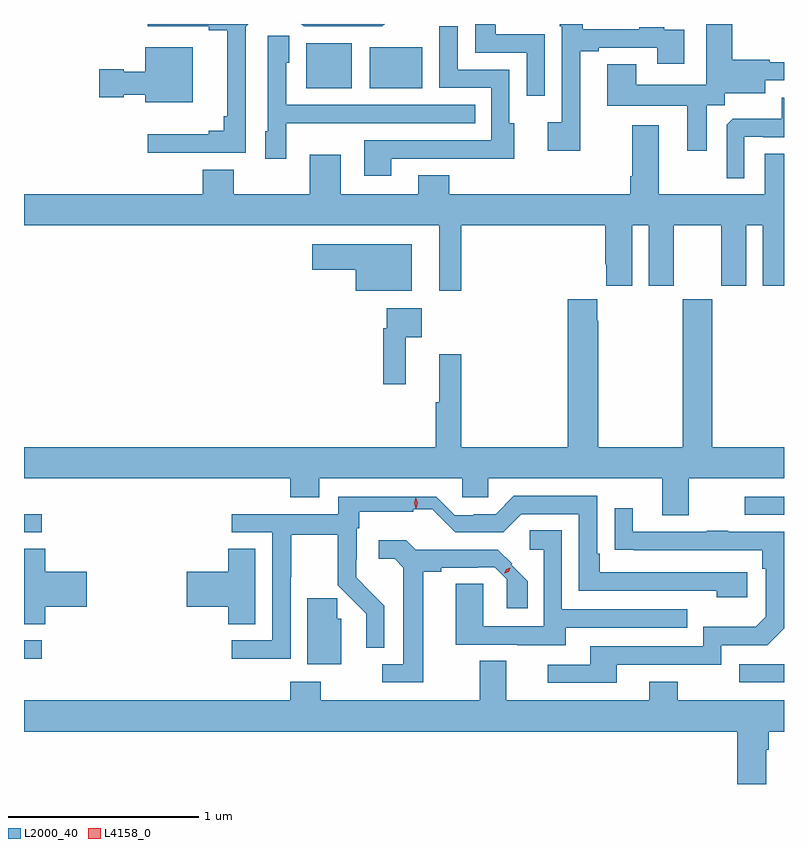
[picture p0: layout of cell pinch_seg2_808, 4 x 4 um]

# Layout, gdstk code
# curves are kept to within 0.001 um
import gdstk
lib = gdstk.Library(unit=1e-6, precision=1e-09)
def R(c, l, rs):  # rectangles x0, y0, x1, y1
    for r in rs: c.add(gdstk.rectangle(r[:2], r[2:], *l))
def P(c, l, *ps):  # polygons
    for p in ps: c.add(gdstk.Polygon(p, *l))
L2000_40 = (2000, 40)
L4158_0 = (4158, 0)

pinch_seg2_808 = lib.new_cell('pinch_seg2_808')
R(pinch_seg2_808, L2000_40, [(749.901,593.283,750.137,593.379), (746.137,593.407,746.23,593.505), (746.137,594.072,746.23,594.168), (749.931,594.165,750.137,594.261), (747.623,596.411,747.862,596.647), (747.956,596.411,748.234,596.626)])
P(pinch_seg2_808, L2000_40, [(748.878,596.695),(748.62,596.695),(748.62,596.743),(748.615,596.748),(748.512,596.748),(748.512,596.598),(748.782,596.598),(748.782,596.37),(748.878,596.37)],
  [(748.035,596.748),(747.597,596.748),(747.609,596.736),(748.023,596.736)],
  [(747.303,596.733),(747.318,596.748),(746.787,596.748),(746.787,596.736),(747.11,596.736),(747.11,596.714),(747.206,596.714),(747.206,596.263),(747.187,596.263),(747.187,596.186),(747.11,596.186),(747.11,596.167),(746.787,596.167),(746.787,596.07),(747.303,596.07)],
  [(749.731,596.32),(749.826,596.32),(749.826,596.384),(750.037,596.384),(750.037,596.451),(750.137,596.451),(750.137,596.547),(750.062,596.547),(750.062,596.56),(749.865,596.56),(749.865,596.748),(749.729,596.748),(749.729,596.428),(749.359,596.428),(749.359,596.537),(749.207,596.537),(749.207,596.318),(749.627,596.318),(749.627,596.082),(749.731,596.082)],
  [(749.065,596.604),(749.161,596.604),(749.161,596.622),(749.471,596.622),(749.471,596.538),(749.611,596.538),(749.611,596.718),(749.507,596.718),(749.507,596.731),(749.375,596.731),(749.375,596.72),(749.077,596.72),(749.077,596.748),(748.956,596.748),(748.956,596.735),(748.968,596.735),(748.968,596.23),(748.893,596.23),(748.893,596.082),(749.065,596.082)],
  [(748.069,596.04),(748.499,596.04),(748.499,596.039),(748.717,596.039),(748.717,596.226),(748.692,596.226),(748.692,596.508),(748.419,596.508),(748.419,596.737),(748.323,596.737),(748.323,596.412),(748.596,596.412),(748.596,596.136),(747.929,596.136),(747.929,595.95),(748.069,595.95)],
  [(747.516,596.225),(747.833,596.225),(747.833,596.226),(748.511,596.226),(748.511,596.322),(747.516,596.322),(747.516,596.544),(747.532,596.544),(747.532,596.687),(747.42,596.687),(747.42,596.184),(747.407,596.184),(747.407,596.04),(747.516,596.04)],
  [(747.025,596.626),(746.774,596.626),(746.774,596.497),(746.661,596.497),(746.661,596.51),(746.532,596.51),(746.532,596.363),(746.661,596.363),(746.661,596.375),(746.774,596.375),(746.774,596.336),(747.025,596.336)],
  [(749.928,596.154),(750.028,596.154),(750.028,596.151),(750.137,596.151),(750.137,596.361),(750.126,596.361),(750.126,596.249),(749.867,596.249),(749.835,596.217),(749.835,595.937),(749.928,595.937)],
  [(748.439,595.688),(749.195,595.688),(749.195,595.483),(749.201,595.483),(749.201,595.371),(749.338,595.371),(749.338,595.688),(749.426,595.688),(749.426,595.371),(749.557,595.371),(749.557,595.688),(749.807,595.688),(749.807,595.371),(749.938,595.371),(749.938,595.688),(750.026,595.688),(750.026,595.371),(750.137,595.371),(750.137,596.066),(750.036,596.066),(750.036,595.852),(749.479,595.852),(749.479,596.215),(749.339,596.215),(749.339,595.948),(749.327,595.948),(749.327,595.852),(748.375,595.852),(748.375,595.951),(748.211,595.951),(748.211,595.852),(747.805,595.852),(747.805,596.059),(747.641,596.059),(747.641,595.852),(747.241,595.852),(747.241,595.981),(747.077,595.981),(747.077,595.852),(746.137,595.852),(746.137,595.688),(748.322,595.688),(748.322,595.344),(748.439,595.344)],
  [(748.177,595.588),(747.654,595.588),(747.654,595.454),(747.884,595.454),(747.884,595.343),(748.177,595.343)],
  [(749.635,594.356),(750.137,594.356),(750.137,594.52),(749.76,594.52),(749.76,595.3),(749.605,595.3),(749.605,594.52),(749.16,594.52),(749.16,595.187),(749.155,595.187),(749.155,595.3),(749,595.3),(749,594.52),(748.439,594.52),(748.439,595.009),(748.322,595.009),(748.322,594.756),(748.303,594.756),(748.303,594.52),(746.137,594.52),(746.137,594.356),(747.539,594.356),(747.539,594.257),(747.691,594.257),(747.691,594.356),(748.443,594.356),(748.443,594.258),(748.581,594.258),(748.581,594.356),(749.495,594.356),(749.495,594.162),(749.635,594.162)],
  [(748.145,595.1),(748.231,595.1),(748.231,595.252),(748.047,595.252),(748.047,595.148),(748.027,595.148),(748.027,594.852),(748.145,594.852)],
  [(747.54,593.836),(747.543,593.836),(747.543,594.06),(747.787,594.06),(747.787,593.795),(747.938,593.645),(747.938,593.464),(748.032,593.464),(748.032,593.687),(747.886,593.835),(747.886,593.93),(747.888,593.93),(747.888,594.094),(747.901,594.094),(747.901,594.181),(748.185,594.181),(748.185,594.194),(748.285,594.194),(748.407,594.072),(748.659,594.072),(748.755,594.168),(749.058,594.168),(749.058,593.766),(749.783,593.766),(749.783,593.732),(749.944,593.732),(749.944,593.862),(749.167,593.862),(749.167,593.959),(749.154,593.959),(749.154,594.264),(748.715,594.264),(748.619,594.168),(748.504,594.168),(748.504,594.162),(748.405,594.162),(748.306,594.261),(747.792,594.261),(747.792,594.168),(747.231,594.168),(747.231,594.072),(747.444,594.072),(747.444,593.505),(747.231,593.505),(747.231,593.407),(747.54,593.407)],
  [(749.257,593.376),(749.808,593.376),(749.808,593.478),(750.048,593.478),(750.137,593.567),(750.137,594.075),(749.843,594.075),(749.843,594.08),(749.731,594.08),(749.731,594.075),(749.341,594.075),(749.341,594.199),(749.245,594.199),(749.245,593.98),(750.022,593.979),(750.022,593.882),(750.042,593.882),(750.042,593.628),(749.989,593.575),(749.712,593.575),(749.712,593.472),(749.117,593.472),(749.117,593.376),(748.893,593.376),(748.893,593.28),(749.257,593.28)],
  [(748.987,593.571),(749.627,593.571),(749.627,593.667),(748.968,593.667),(748.968,594.083),(748.8,594.083),(748.8,593.982),(748.872,593.982),(748.872,593.577),(748.555,593.577),(748.555,593.801),(748.409,593.801),(748.409,593.481),(748.733,593.481),(748.733,593.477),(748.987,593.477)],
  [(748.237,593.864),(748.333,593.864),(748.333,593.886),(748.526,593.886),(748.526,593.889),(748.614,593.889),(748.677,593.826),(748.677,593.673),(748.787,593.673),(748.787,593.814),(748.701,593.901),(748.707,593.907),(748.631,593.982),(748.198,593.981),(748.148,594.031),(748.005,594.031),(748.005,593.933),(748.087,593.933),(748.133,593.887),(748.133,593.379),(748.023,593.379),(748.023,593.283),(748.237,593.283)],
  [(747.355,593.987),(747.212,593.987),(747.212,593.864),(746.994,593.864),(746.994,593.681),(747.212,593.681),(747.212,593.59),(747.355,593.59)],
  [(746.249,593.681),(746.467,593.681),(746.467,593.864),(746.249,593.864),(746.249,593.987),(746.137,593.987),(746.137,593.59),(746.249,593.59)],
  [(747.807,593.618),(747.786,593.618),(747.786,593.726),(747.629,593.726),(747.629,593.378),(747.807,593.378)],
  [(750.043,592.928),(750.056,592.928),(750.056,593.024),(750.137,593.024),(750.137,593.188),(749.577,593.188),(749.577,593.287),(749.429,593.287),(749.429,593.188),(748.675,593.188),(748.675,593.396),(748.535,593.396),(748.535,593.188),(747.699,593.188),(747.699,593.287),(747.539,593.287),(747.539,593.188),(746.137,593.188),(746.137,593.024),(749.891,593.024),(749.891,592.748),(750.043,592.748)])
P(pinch_seg2_808, L4158_0, [(748.665,593.858),(748.665,593.858),(748.674,593.879),(748.696,593.885),(748.696,593.885),(748.696,593.885),(748.687,593.864),(748.666,593.858)],
  [(748.201,594.199),(748.2,594.2),(748.19,594.227),(748.199,594.255),(748.199,594.255),(748.199,594.255),(748.21,594.228),(748.201,594.2)])

lib.write_gds('pinch_seg2_808.gds')
